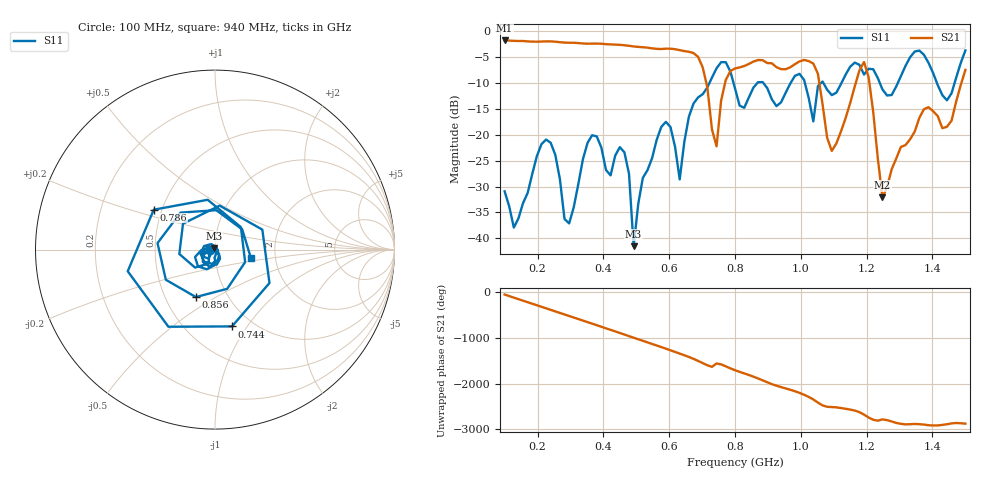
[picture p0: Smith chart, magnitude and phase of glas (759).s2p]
! NanoVNA-App
! Date: 2025-09-25 16:01:23
! Start: 100MHz Stop: 1,5GHz Points: 101
! S-Parameter data: F S11 S21 S12 S22
# Hz S RI R 50
!  Frequency  S11_Real  S11_Imag  S21_Real  S21_Imag  S12_Real  S12_Imag  S22_Real  S22_Imag
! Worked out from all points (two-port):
!   101 points, 100 MHz to 1.5 GHz, reference 50 ohm
!   highest |S21| = -1.80 dB at 100 MHz (marker M1); lowest = -32.1 dB at 1.248 GHz (marker M2)
!   |S21| within 3 dB of the highest: start of sweep to 684.6 MHz
!   lowest |S11| = -41.5 dB at 492 MHz (marker M3), VSWR 1.02, Z = 49.4 + j0.625 ohm
!   |S11| at or under -10 dB: start of sweep to 722.4 MHz; 795.5 MHz to 868.1 MHz (72.62 MHz wide, 8.73 % of centre); 886 MHz to 969.1 MHz (83.1 MHz wide, 8.96 % of centre) (the widest 3 of 7)
!   S12 and S22 are empty: the file has one direction only
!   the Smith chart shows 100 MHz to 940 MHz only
!   S11 on the Smith chart (normalised r, x): 100 MHz: 0.94, -0.01; 744 MHz: 0.81, -0.85; 786 MHz: 0.45, +0.24; 856 MHz: 0.71, -0.41; 940 MHz: 1.49, -0.15
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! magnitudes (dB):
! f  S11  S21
! 100 MHz  -30.9  -1.8
! 128 MHz  -37.9  -1.9
! 226 MHz  -20.9  -2.0
! 296 MHz  -37.1  -2.2
! 338 MHz  -24.7  -2.4
! 464 MHz  -23.4  -2.7
! 492 MHz  -41.5  -3.0
! 576 MHz  -18.5  -3.5
! 632 MHz  -28.6  -3.7
! 702 MHz  -12.2  -7.0
! 744 MHz  -7.2  -22.2
! 786 MHz  -7.8  -7.7
! 800 MHz  -11.0  -7.2
! 856 MHz  -10.9  -5.9
! 940 MHz  -13.7  -7.3
! 996 MHz  -8.2  -5.8
! 1.038 GHz  -17.4  -6.3
! 1.094 GHz  -12.4  -23.1
! 1.192 GHz  -8.4  -6.0
! 1.248 GHz  -11.2  -32.1
! 1.276 GHz  -12.3  -26.7
! 1.5 GHz  -3.7  -7.5
